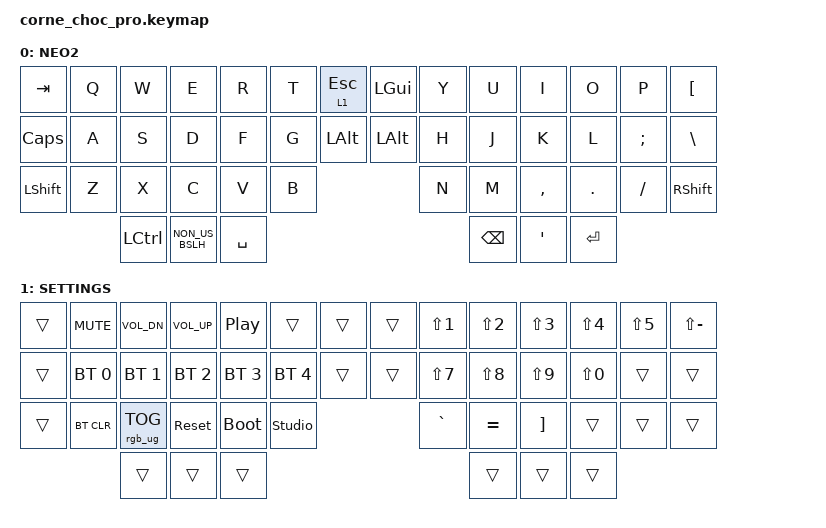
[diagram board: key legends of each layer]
/*
 * Copyright (c) 2020 The ZMK Contributors
 *
 * SPDX-License-Identifier: MIT
 *
 * Neo2, host-driven. The firmware sends US-positional keycodes and the host
 * layout de(neo) turns them into Neo2. Requires the host on layout "de",
 * variant "neo".
 *
 * Neo's modifiers are sent as the keys de(neo) expects them on:
 *   CAPS        Mod3 left  (symbols)
 *   BSLH        Mod3 right (<BKSL>), on the outer home key like on a Neo board
 *   NON_US_BSLH Mod4       (<LSGT>, navigation/numpad)
 * Mod3 + Mod4 together, or with Shift, reach the Greek and math levels.
 *
 * The settings layer also carries what Neo keeps on the number row, which the
 * Corne lacks: LS(N7) is Shift + <AE07>, which de(neo) renders as €.
 */

#include <behaviors.dtsi>
#include <dt-bindings/zmk/bt.h>
#include <dt-bindings/zmk/keys.h>
#include <dt-bindings/zmk/rgb.h>

/ {
    chosen { zmk,physical-layout = &default_layout; };
};

/ {
    keymap {
        compatible = "zmk,keymap";

        // Rendered by de(neo):
        //   Tab   x v l c w   Esc  Super  k h g f q  ß
        //   M3    u i a e o   Alt   Alt   s n r t d  M3
        //   Shift ü ö ä p z               b m , . j  Shift
        //              Ctrl M4 Space    Bksp y Enter
        // y moves to the thumb: Neo needs a 7th column on the right for y and Mod3.
        // Hold Esc for the settings layer. Alt is on both halves so Alt + letter
        // can use the other hand; both send left Alt because right Alt is Mod4.
        base {
            display-name = "NEO2";
            bindings = <
&kp TAB    &kp Q  &kp W  &kp E  &kp R  &kp T    &lt 1 ESC  &kp LGUI   &kp Y  &kp U  &kp I      &kp O    &kp P     &kp LBKT
&kp CAPS   &kp A  &kp S  &kp D  &kp F  &kp G    &kp LALT   &kp LALT   &kp H  &kp J  &kp K      &kp L    &kp SEMI  &kp BSLH
&kp LSHFT  &kp Z  &kp X  &kp C  &kp V  &kp B                          &kp N  &kp M  &kp COMMA  &kp DOT  &kp FSLH  &kp RSHFT
                  &kp LCTRL  &kp NON_US_BSLH  &kp SPACE               &kp BSPC  &kp SQT   &kp RET
            >;
        };

        // Left: media, Bluetooth, bootloader, Studio unlock.
        // Right, rendered by de(neo): ° § ℓ » « — / € „ “ ” / dead ^ ` ´
        settings {
            display-name = "SETTINGS";
            bindings = <
&trans  &kp C_MUTE    &kp C_VOL_DN     &kp C_VOL_UP  &kp C_PP      &trans          &trans     &trans     &kp LS(N1)  &kp LS(N2)  &kp LS(N3)  &kp LS(N4)  &kp LS(N5)  &kp LS(MINUS)
&trans  &bt BT_SEL 0  &bt BT_SEL 1     &bt BT_SEL 2  &bt BT_SEL 3  &bt BT_SEL 4    &trans     &trans     &kp LS(N7)  &kp LS(N8)  &kp LS(N9)  &kp LS(N0)  &trans      &trans
&trans  &bt BT_CLR    &rgb_ug RGB_TOG  &sys_reset    &bootloader   &studio_unlock                        &kp GRAVE   &kp EQUAL   &kp RBKT    &trans      &trans      &trans
                                       &trans        &trans        &trans                                &trans      &trans      &trans
            >;
        };
    };
};
